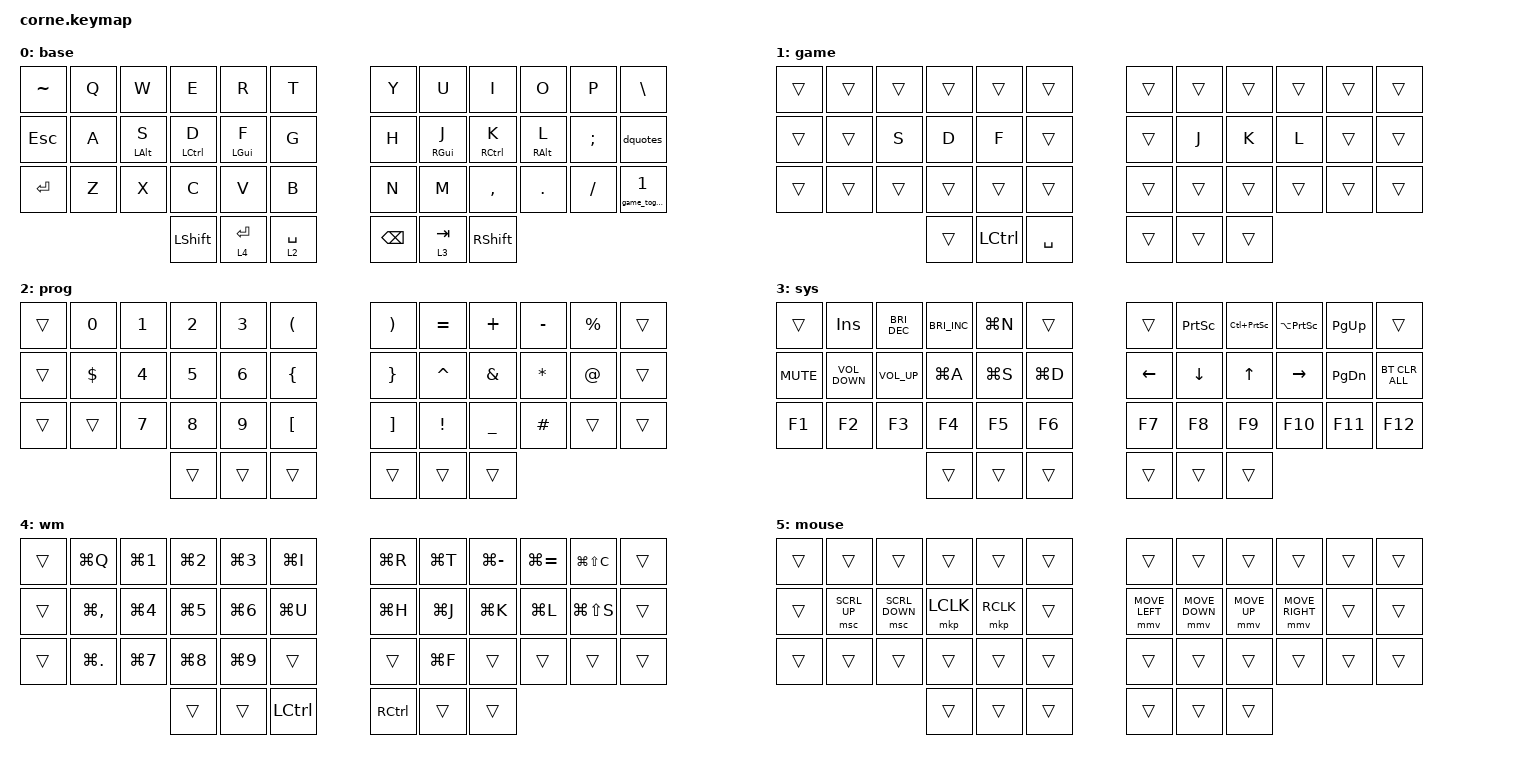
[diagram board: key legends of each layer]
#include <behaviors.dtsi>
#include <dt-bindings/zmk/bt.h>
#include <dt-bindings/zmk/keys.h>
#include <dt-bindings/zmk/pointing.h>

/ {
    behaviors {
        hml: hml {
            compatible = "zmk,behavior-hold-tap";
            label = "HML";
            bindings = <&kp>, <&kp>;

            #binding-cells = <2>;
            flavor = "balanced";
            require-prior-idle-ms = <150>;
            tapping-term-ms = <250>;
            quick-tap-ms = <175>;
            hold-trigger-on-release;
            hold-trigger-key-positions = <6 7 8 9 10 11 18 19 20 21 22 23 30 31 32 33 34 35 39 40 41>;
        };

        hmr: hmr {
            compatible = "zmk,behavior-hold-tap";
            label = "HMR";
            bindings = <&kp>, <&kp>;

            #binding-cells = <2>;
            flavor = "balanced";
            require-prior-idle-ms = <150>;
            tapping-term-ms = <250>;
            quick-tap-ms = <175>;
            hold-trigger-on-release;
            hold-trigger-key-positions = <0 1 2 3 4 5 12 13 14 15 16 17 24 25 26 27 28 29 36 37 38>;
        };

        dquotes: dquotes {
            compatible = "zmk,behavior-mod-morph";
            label = "DQUOTES";
            bindings = <&kp SQT>, <&dquote>;

            #binding-cells = <0>;
            mods = <(MOD_LSFT|MOD_RSFT)>;
        };

        game_toggle: game_toggle {
            compatible = "zmk,behavior-toggle-layer";
            label = "GAME_TOGGLE";
            #binding-cells = <1>;
            toggle-mode = "flip";
        };
    };

    macros {
        dquote: dquote {
            compatible = "zmk,behavior-macro";
            #binding-cells = <0>;
            bindings = <&kp DOUBLE_QUOTES &kp DOUBLE_QUOTES &kp LEFT>;
            label = "DQUOTE";
        };
    };

    combos {
        compatible = "zmk,combos";

        launcher {
            bindings = <&kp LG(LS(F23))>;
            key-positions = <38 39>;
            require-prior-idle-ms = <150>;
            timeout-ms = <200>;
            layers = <0>;
        };
    };

    keymap {
        compatible = "zmk,keymap";

        base {
            bindings = <
&kp TILDE   &kp Q  &kp W        &kp E                &kp R        &kp T          &kp Y          &kp U        &kp I                 &kp O        &kp P     &kp BACKSLASH
&kp ESCAPE  &kp A  &hml LALT S  &hml LEFT_CONTROL D  &hml LGUI F  &kp G          &kp H          &hmr RGUI J  &hmr RIGHT_CONTROL K  &hmr RALT L  &kp SEMI  &dquotes
&kp ENTER   &kp Z  &kp X        &kp C                &kp V        &kp B          &kp N          &kp M        &kp COMMA             &kp DOT      &kp FSLH  &game_toggle 1
                                &kp LSHIFT           &lt 4 ENTER  &lt 2 SPACE    &kp BACKSPACE  &lt 3 TAB    &kp RSHIFT
            >;
        };

        game {
            bindings = <
&trans  &trans  &trans  &trans  &trans            &trans       &trans  &trans  &trans  &trans  &trans  &trans
&trans  &trans  &kp S   &kp D   &kp F             &trans       &trans  &kp J   &kp K   &kp L   &trans  &trans
&trans  &trans  &trans  &trans  &trans            &trans       &trans  &trans  &trans  &trans  &trans  &trans
                        &trans  &kp LEFT_CONTROL  &kp SPACE    &trans  &trans  &trans
            >;
        };

        prog {
            bindings = <
&trans  &kp N0      &kp N1  &kp N2  &kp N3  &kp LEFT_PARENTHESIS    &kp RIGHT_PARENTHESIS  &kp EQUAL        &kp PLUS        &kp MINUS     &kp PERCENT  &trans
&trans  &kp DOLLAR  &kp N4  &kp N5  &kp N6  &kp LEFT_BRACE          &kp RIGHT_BRACE        &kp CARET        &kp AMPERSAND   &kp ASTERISK  &kp AT_SIGN  &trans
&trans  &trans      &kp N7  &kp N8  &kp N9  &kp LEFT_BRACKET        &kp RIGHT_BRACKET      &kp EXCLAMATION  &kp UNDERSCORE  &kp HASH      &trans       &trans
                            &trans  &trans  &trans                  &trans                 &trans           &trans
            >;
        };

        sys {
            bindings = <
&trans      &kp INSERT         &kp C_BRIGHTNESS_DEC  &kp C_BRIGHTNESS_INC  &kp LG(N)  &trans       &trans    &kp PRINTSCREEN  &kp LC(PRINTSCREEN)  &kp LA(PRINTSCREEN)  &kp PAGE_UP    &trans
&kp C_MUTE  &kp C_VOLUME_DOWN  &kp C_VOLUME_UP       &kp LG(A)             &kp LG(S)  &kp LG(D)    &kp LEFT  &kp DOWN         &kp UP               &kp RIGHT            &kp PAGE_DOWN  &bt BT_CLR_ALL
&kp F1      &kp F2             &kp F3                &kp F4                &kp F5     &kp F6       &kp F7    &kp F8           &kp F9               &kp F10              &kp F11        &kp F12
                                                     &trans                &trans     &trans       &trans    &trans           &trans
            >;
        };

        wm {
            bindings = <
&trans  &kp LG(Q)       &kp LG(N1)  &kp LG(N2)  &kp LG(N3)  &kp LG(I)           &kp LG(R)          &kp LG(T)  &kp LG(MINUS)  &kp LG(EQUAL)  &kp LG(LS(C))  &trans
&trans  &kp LG(COMMA)   &kp LG(N4)  &kp LG(N5)  &kp LG(N6)  &kp LG(U)           &kp LG(H)          &kp LG(J)  &kp LG(K)      &kp LG(L)      &kp LG(LS(S))  &trans
&trans  &kp LG(PERIOD)  &kp LG(N7)  &kp LG(N8)  &kp LG(N9)  &trans              &trans             &kp LG(F)  &trans         &trans         &trans         &trans
                                    &trans      &trans      &kp LEFT_CONTROL    &kp RIGHT_CONTROL  &trans     &trans
            >;
        };

        mouse {
            bindings = <
&trans  &trans        &trans          &trans     &trans     &trans    &trans          &trans          &trans        &trans           &trans  &trans
&trans  &msc SCRL_UP  &msc SCRL_DOWN  &mkp LCLK  &mkp RCLK  &trans    &mmv MOVE_LEFT  &mmv MOVE_DOWN  &mmv MOVE_UP  &mmv MOVE_RIGHT  &trans  &trans
&trans  &trans        &trans          &trans     &trans     &trans    &trans          &trans          &trans        &trans           &trans  &trans
                                      &trans     &trans     &trans    &trans          &trans          &trans
            >;
        };
    };

    conditional_layers {
        compatible = "zmk,conditional-layers";

        mouse {
            if-layers = <3 4>;
            then-layer = <5>;
        };
    };
};
